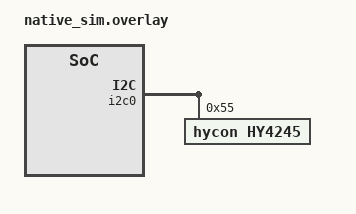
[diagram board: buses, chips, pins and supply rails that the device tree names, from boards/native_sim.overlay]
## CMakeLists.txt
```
# Copyright (c) 2026, Testo SE & Co. KGaA
# SPDX-License-Identifier: Apache-2.0

cmake_minimum_required(VERSION 3.28.0)
find_package(Zephyr REQUIRED HINTS $ENV{ZEPHYR_BASE})
project(hy4245)

target_sources(app PRIVATE src/test_hy4245.c)
```

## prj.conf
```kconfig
CONFIG_ZTEST=y
CONFIG_ZTEST_STACK_SIZE=2048
CONFIG_I2C=y
CONFIG_TEST_USERSPACE=y
CONFIG_LOG=y

CONFIG_FUEL_GAUGE=y
CONFIG_HY4245_RESET_SETTLE_TIME_MS=0
```

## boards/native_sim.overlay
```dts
/*
 * Copyright (c) 2026, Testo SE & Co. KGaA
 *
 * SPDX-License-Identifier: Apache-2.0
 */

&i2c0 {
	hy4245: hy4245@55 {
		compatible = "hycon,hy4245";
		reg = <0x55>;
		status = "okay";
	};
};
```

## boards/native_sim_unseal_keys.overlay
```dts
/*
 * Copyright (c) 2026, Testo SE & Co. KGaA
 *
 * SPDX-License-Identifier: Apache-2.0
 */

/* Gauge programmed with vendor specific unseal keys */
&i2c0 {
	hy4245: hy4245@55 {
		compatible = "hycon,hy4245";
		reg = <0x55>;
		status = "okay";
		unseal-keys = <0x12345678 0x9abcdef0>;
	};
};
```

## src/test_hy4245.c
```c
/*
 * Copyright (c) 2026, Testo SE & Co. KGaA
 *
 * SPDX-License-Identifier: Apache-2.0
 */

#include <string.h>

#include <zephyr/device.h>
#include <zephyr/drivers/fuel_gauge.h>
#include <zephyr/drivers/fuel_gauge/hy4245.h>
#include <zephyr/kernel.h>
#include <zephyr/sys/util.h>
#include <zephyr/ztest.h>

/* Data flash locations used by the tests */
#define SUBCLASS_CALIBRATION 0x02 /* device specific, skipped by config image programming */
#define SUBCLASS_SHARED      0x03 /* block 1 has device specific bytes 7 and 8 */
#define SUBCLASS_MFG_INFO    0x20

#define BLOCK_SIZE   HY4245_DATA_FLASH_BLOCK_SIZE
#define ELEMENT_SIZE HY4245_CONFIG_IMAGE_ELEMENT_SIZE

struct hy4245_fixture {
	const struct device *dev;
};

static void *hy4245_setup(void)
{
	static ZTEST_DMEM struct hy4245_fixture fixture;

	fixture.dev = DEVICE_DT_GET_ANY(hycon_hy4245);
	k_object_access_all_grant(fixture.dev);

	zassert_true(device_is_ready(fixture.dev), "Fuel gauge not found");

	return &fixture;
}

static void hy4245_before(void *f)
{
	struct hy4245_fixture *fixture = f;
	union fuel_gauge_prop_val val = {};

	/* Every test starts with a sealed gauge outside calibration mode */
	if (fuel_gauge_get_prop(fixture->dev, HY4245_FUEL_GAUGE_CALIBRATION_MODE, &val) == 0 &&
	    val.custom_bool) {
		val.custom_bool = false;
		(void)fuel_gauge_set_prop(fixture->dev, HY4245_FUEL_GAUGE_CALIBRATION_MODE, val);
	}
}

static uint32_t get_uint(const struct device *dev, fuel_gauge_prop_t prop)
{
	union fuel_gauge_prop_val val = {};

	zassert_ok(fuel_gauge_get_prop(dev, prop, &val), "reading property %u failed", prop);

	return val.custom_uint;
}

static bool get_bool(const struct device *dev, fuel_gauge_prop_t prop)
{
	union fuel_gauge_prop_val val = {};

	zassert_ok(fuel_gauge_get_prop(dev, prop, &val), "reading property %u failed", prop);

	return val.custom_bool;
}

static int set_bool(const struct device *dev, fuel_gauge_prop_t prop, bool value)
{
	return fuel_gauge_set_prop(dev, prop, (union fuel_gauge_prop_val){.custom_bool = value});
}

static void enter_calibration_mode(const struct device *dev)
{
	zassert_ok(set_bool(dev, HY4245_FUEL_GAUGE_CALIBRATION_MODE, true));
	zassert_true(get_bool(dev, HY4245_FUEL_GAUGE_CALIBRATION_MODE));
}

static void leave_calibration_mode(const struct device *dev)
{
	zassert_ok(set_bool(dev, HY4245_FUEL_GAUGE_CALIBRATION_MODE, false));
	zassert_false(get_bool(dev, HY4245_FUEL_GAUGE_CALIBRATION_MODE));
}

static void read_block(const struct device *dev, uint8_t subclass, uint8_t block, uint8_t *out)
{
	struct hy4245_data_flash_block blk = {
		.subclass = subclass,
		.block = block,
		.len = BLOCK_SIZE,
	};

	zassert_ok(fuel_gauge_get_buffer_prop(dev, HY4245_FUEL_GAUGE_DATA_FLASH_BLOCK, &blk,
					      sizeof(blk)),
		   "reading block 0x%02x/%u failed", subclass, block);
	memcpy(out, blk.data, BLOCK_SIZE);
}

static void write_block(const struct device *dev, uint8_t subclass, uint8_t block,
			const uint8_t *in, uint8_t len)
{
	struct hy4245_data_flash_block blk = {
		.subclass = subclass,
		.block = block,
		.len = len,
	};

	memcpy(blk.data, in, len);
	zassert_ok(fuel_gauge_set_buffer_prop(dev, HY4245_FUEL_GAUGE_DATA_FLASH_BLOCK, &blk,
					      sizeof(blk)),
		   "writing block 0x%02x/%u failed", subclass, block);
}

static void fill_element(uint8_t *image, size_t index, uint8_t subclass, uint8_t block,
			 uint8_t value)
{
	uint8_t *element = &image[index * ELEMENT_SIZE];

	element[0] = subclass;
	element[1] = block;
	memset(&element[2], value, BLOCK_SIZE);
}

ZTEST_USER_F(hy4245, test_get_props__standard_values)
{
	const fuel_gauge_prop_t props[] = {
		FUEL_GAUGE_VOLTAGE_UV,
		FUEL_GAUGE_CURRENT_UA,
		FUEL_GAUGE_AVG_CURRENT_UA,
		FUEL_GAUGE_TEMPERATURE_DK,
		FUEL_GAUGE_RELATIVE_STATE_OF_CHARGE_PCT,
		FUEL_GAUGE_REMAINING_CAPACITY_UAH,
		FUEL_GAUGE_FULL_CHARGE_CAPACITY_UAH,
		FUEL_GAUGE_RUNTIME_TO_EMPTY_MINS,
		FUEL_GAUGE_RUNTIME_TO_FULL_MINS,
		FUEL_GAUGE_CHARGE_VOLTAGE_UV,
		FUEL_GAUGE_CHARGE_CURRENT_UA,
		FUEL_GAUGE_DESIGN_CAPACITY,
		FUEL_GAUGE_STATE_OF_HEALTH,
	};
	union fuel_gauge_prop_val vals[ARRAY_SIZE(props)] = {};

	zassert_ok(fuel_gauge_get_props(fixture->dev, props, vals, ARRAY_SIZE(props)));

	/* Fixed readings of the emulator, converted to the API units */
	zassert_equal(vals[0].voltage_uv, 3700000);
	zassert_equal(vals[1].current_ua, -1234000);
	zassert_equal(vals[2].avg_current_ua, -250000);
	zassert_equal(vals[3].temperature_dk, 2981);
	zassert_equal(vals[4].relative_state_of_charge_pct, 55);
	zassert_equal(vals[5].remaining_capacity_uah, 1200000);
	zassert_equal(vals[6].full_charge_capacity_uah, 2400000);
	zassert_equal(vals[7].runtime_to_empty_mins, 300);
	zassert_equal(vals[8].runtime_to_full_mins, 120);
	zassert_equal(vals[9].chg_voltage_uv, 4200000);
	zassert_equal(vals[10].chg_current_ua, 1500000);
	zassert_equal(vals[11].design_cap, 2500);
	zassert_equal(vals[12].state_of_health, 99);
}

ZTEST_USER_F(hy4245, test_unsupported_operations)
{
	union fuel_gauge_prop_val val = {};

	zassert_equal(fuel_gauge_get_prop(fixture->dev, FUEL_GAUGE_CYCLE_COUNT, &val), -ENOTSUP);
	zassert_equal(fuel_gauge_get_prop(fixture->dev, FUEL_GAUGE_CUSTOM_BEGIN + 100, &val),
		      -ENOTSUP);
	zassert_equal(fuel_gauge_set_prop(fixture->dev, FUEL_GAUGE_VOLTAGE_UV, val), -ENOTSUP);
	zassert_equal(fuel_gauge_battery_cutoff(fixture->dev), -ENOSYS);
}

ZTEST_USER_F(hy4245, test_status_and_version_props)
{
	union fuel_gauge_prop_val val = {};
	uint32_t status, flags, cfg_a, checksum;

	zassert_equal(get_uint(fixture->dev, HY4245_FUEL_GAUGE_FIRMWARE_VERSION), 0x2006);
	zassert_equal(get_uint(fixture->dev, HY4245_FUEL_GAUGE_DATA_FLASH_VERSION), 0x0003);
	zassert_equal(get_uint(fixture->dev, HY4245_FUEL_GAUGE_SAFETY_STATUS), 0);
	zassert_equal(get_uint(fixture->dev, HY4245_FUEL_GAUGE_LIFETIME_OVER_TEMPERATURE_MINS), 42);

	flags = get_uint(fixture->dev, HY4245_FUEL_GAUGE_FLAGS);
	zassert_true(flags & HY4245_FLAGS_DSG, "gauge not discharging");
	zassert_false(flags & HY4245_FLAGS_CHG, "gauge charging");

	/* Data sheet defaults of OperationCfgA() */
	cfg_a = get_uint(fixture->dev, HY4245_FUEL_GAUGE_OPERATION_CONFIG_A);
	zassert_true(cfg_a & HY4245_OPERATION_CONFIG_A_TEMPS, "external temperature sensor");
	zassert_true(cfg_a & HY4245_OPERATION_CONFIG_A_SLEEP, "sleep mode");
	zassert_false(cfg_a & HY4245_OPERATION_CONFIG_A_CELL0, "single cell");

	/* Sealed and not in calibration mode after the reset done by the before hook */
	status = get_uint(fixture->dev, HY4245_FUEL_GAUGE_CONTROL_STATUS);
	zassert_true(status & HY4245_CONTROL_STATUS_SS, "gauge not sealed");
	zassert_false(status & HY4245_CONTROL_STATUS_BCA, "calibration mode active");

	/* A sealed gauge does not compute the data flash checksum */
	zassert_equal(
		fuel_gauge_get_prop(fixture->dev, HY4245_FUEL_GAUGE_DATA_FLASH_CHECKSUM, &val),
		-EACCES);

	/* The data flash checksum is stable while nothing is written */
	enter_calibration_mode(fixture->dev);
	checksum = get_uint(fixture->dev, HY4245_FUEL_GAUGE_DATA_FLASH_CHECKSUM);
	zassert_not_equal(checksum, 0);
	zassert_equal(get_uint(fixture->dev, HY4245_FUEL_GAUGE_DATA_FLASH_CHECKSUM), checksum);
	leave_calibration_mode(fixture->dev);
}

ZTEST_USER_F(hy4245, test_flash_update_enable)
{
	if (!get_bool(fixture->dev, HY4245_FUEL_GAUGE_FLASH_UPDATE_ENABLE)) {
		zassert_false(get_uint(fixture->dev, HY4245_FUEL_GAUGE_OPERATION_CONFIG_A) &
			      HY4245_OPERATION_CONFIG_A_UPD_EN);
		zassert_ok(set_bool(fixture->dev, HY4245_FUEL_GAUGE_FLASH_UPDATE_ENABLE, true));
	}
	zassert_true(get_bool(fixture->dev, HY4245_FUEL_GAUGE_FLASH_UPDATE_ENABLE));
	zassert_true(get_uint(fixture->dev, HY4245_FUEL_GAUGE_OPERATION_CONFIG_A) &
		     HY4245_OPERATION_CONFIG_A_UPD_EN);

	/* Enabling twice is fine, disabling is not possible */
	zassert_ok(set_bool(fixture->dev, HY4245_FUEL_GAUGE_FLASH_UPDATE_ENABLE, true));
	zassert_equal(set_bool(fixture->dev, HY4245_FUEL_GAUGE_FLASH_UPDATE_ENABLE, false),
		      -ENOTSUP);
}

ZTEST_USER_F(hy4245, test_calibration_mode_session)
{
	uint32_t status;

	zassert_false(get_bool(fixture->dev, HY4245_FUEL_GAUGE_CALIBRATION_MODE));

	enter_calibration_mode(fixture->dev);
	status = get_uint(fixture->dev, HY4245_FUEL_GAUGE_CONTROL_STATUS);
	zassert_false(status & HY4245_CONTROL_STATUS_SS, "gauge still sealed");
	zassert_true(status & HY4245_CONTROL_STATUS_BCA, "calibration mode not active");

	/* Entering again is idempotent */
	zassert_ok(set_bool(fixture->dev, HY4245_FUEL_GAUGE_CALIBRATION_MODE, true));
	zassert_true(get_bool(fixture->dev, HY4245_FUEL_GAUGE_CALIBRATION_MODE));

	/* Leaving resets the gauge, which seals it again */
	leave_calibration_mode(fixture->dev);
	status = get_uint(fixture->dev, HY4245_FUEL_GAUGE_CONTROL_STATUS);
	zassert_true(status & HY4245_CONTROL_STATUS_SS, "gauge not sealed after reset");
	zassert_false(status & HY4245_CONTROL_STATUS_BCA,
		      "calibration mode still active after reset");
}

ZTEST_USER_F(hy4245, test_reset)
{
	zassert_equal(set_bool(fixture->dev, HY4245_FUEL_GAUGE_RESET, false), -EINVAL);

	enter_calibration_mode(fixture->dev);
	zassert_ok(set_bool(fixture->dev, HY4245_FUEL_GAUGE_RESET, true));
	zassert_false(get_bool(fixture->dev, HY4245_FUEL_GAUGE_CALIBRATION_MODE));
	zassert_true(get_uint(fixture->dev, HY4245_FUEL_GAUGE_CONTROL_STATUS) &
		     HY4245_CONTROL_STATUS_SS);
}

ZTEST_USER_F(hy4245, test_buffer_props_require_calibration_mode)
{
	uint8_t data[BLOCK_SIZE] = {0};
	struct hy4245_data_flash_block blk = {
		.subclass = SUBCLASS_MFG_INFO,
		.block = 0,
		.len = BLOCK_SIZE,
	};
	uint8_t image[ELEMENT_SIZE] = {0};

	zassert_equal(fuel_gauge_get_buffer_prop(fixture->dev,
						 HY4245_FUEL_GAUGE_MANUFACTURER_INFO_A, data,
						 sizeof(data)),
		      -EACCES);
	zassert_equal(fuel_gauge_set_buffer_prop(fixture->dev,
						 HY4245_FUEL_GAUGE_MANUFACTURER_INFO_C, data,
						 sizeof(data)),
		      -EACCES);
	zassert_equal(fuel_gauge_get_buffer_prop(fixture->dev, HY4245_FUEL_GAUGE_DATA_FLASH_BLOCK,
						 &blk, sizeof(blk)),
		      -EACCES);
	zassert_equal(fuel_gauge_set_buffer_prop(fixture->dev, HY4245_FUEL_GAUGE_CONFIG_IMAGE,
						 image, sizeof(image)),
		      -EACCES);
	zassert_equal(fuel_gauge_set_buffer_prop(fixture->dev,
						 HY4245_FUEL_GAUGE_CONFIG_IMAGE_VERIFY, image,
						 sizeof(image)),
		      -EACCES);
}

ZTEST_USER_F(hy4245, test_buffer_props_argument_validation)
{
	uint8_t data[BLOCK_SIZE + 1] = {0};
	struct hy4245_data_flash_block blk = {
		.subclass = SUBCLASS_MFG_INFO,
		.block = 0,
		.len = BLOCK_SIZE + 1,
	};

	/* Argument checks come before the calibration mode check */
	zassert_equal(
		fuel_gauge_set_buffer_prop(fixture->dev, HY4245_FUEL_GAUGE_CONFIG_IMAGE, NULL, 0),
		-EINVAL);
	zassert_equal(fuel_gauge_get_buffer_prop(fixture->dev,
						 HY4245_FUEL_GAUGE_MANUFACTURER_INFO_A, NULL, 0),
		      -EINVAL);

	enter_calibration_mode(fixture->dev);

	zassert_equal(fuel_gauge_set_buffer_prop(fixture->dev, HY4245_FUEL_GAUGE_DATA_FLASH_BLOCK,
						 &blk, sizeof(blk)),
		      -EINVAL, "block length above the block size accepted");
	blk.len = 0;
	zassert_equal(fuel_gauge_get_buffer_prop(fixture->dev, HY4245_FUEL_GAUGE_DATA_FLASH_BLOCK,
						 &blk, sizeof(blk)),
		      -EINVAL, "zero block length accepted");
	blk.len = BLOCK_SIZE;
	zassert_equal(fuel_gauge_get_buffer_prop(fixture->dev, HY4245_FUEL_GAUGE_DATA_FLASH_BLOCK,
						 &blk, sizeof(blk) - 1),
		      -EINVAL, "wrong structure size accepted");
	zassert_equal(fuel_gauge_set_buffer_prop(fixture->dev,
						 HY4245_FUEL_GAUGE_MANUFACTURER_INFO_B, data,
						 sizeof(data)),
		      -EINVAL, "manufacturer info above the block size accepted");
	zassert_equal(fuel_gauge_set_buffer_prop(fixture->dev, HY4245_FUEL_GAUGE_CONFIG_IMAGE, data,
						 ELEMENT_SIZE - 1),
		      -EINVAL, "image length not a multiple of the element size accepted");
	zassert_equal(fuel_gauge_get_buffer_prop(fixture->dev, HY4245_FUEL_GAUGE_CONFIG_IMAGE, data,
						 BLOCK_SIZE),
		      -ENOTSUP, "configuration image is write only");

	leave_calibration_mode(fixture->dev);
}

ZTEST_USER_F(hy4245, test_data_flash_block_read_write)
{
	uint8_t pattern[BLOCK_SIZE];
	uint8_t partial[4] = {0xde, 0xad, 0xbe, 0xef};
	uint8_t readback[BLOCK_SIZE];
	uint32_t checksum_before, checksum_after;
	struct hy4245_data_flash_block blk = {
		.subclass = SUBCLASS_MFG_INFO,
		.block = 2,
		.len = 2,
	};

	for (size_t i = 0; i < sizeof(pattern); i++) {
		pattern[i] = 0xa5 ^ (uint8_t)i;
	}

	enter_calibration_mode(fixture->dev);

	checksum_before = get_uint(fixture->dev, HY4245_FUEL_GAUGE_DATA_FLASH_CHECKSUM);

	write_block(fixture->dev, SUBCLASS_MFG_INFO, 2, pattern, BLOCK_SIZE);
	read_block(fixture->dev, SUBCLASS_MFG_INFO, 2, readback);
	zassert_mem_equal(readback, pattern, BLOCK_SIZE, "full block write not read back");

	/* A partial write keeps the rest of the block */
	write_block(fixture->dev, SUBCLASS_MFG_INFO, 2, partial, sizeof(partial));
	read_block(fixture->dev, SUBCLASS_MFG_INFO, 2, readback);
	zassert_mem_equal(readback, partial, sizeof(partial), "partial write not applied");
	zassert_mem_equal(&readback[sizeof(partial)], &pattern[sizeof(partial)],
			  BLOCK_SIZE - sizeof(partial), "partial write clobbered the block");

	/* A partial read only touches the requested bytes */
	memset(blk.data, 0xff, sizeof(blk.data));
	zassert_ok(fuel_gauge_get_buffer_prop(fixture->dev, HY4245_FUEL_GAUGE_DATA_FLASH_BLOCK,
					      &blk, sizeof(blk)));
	zassert_mem_equal(blk.data, partial, 2);
	zassert_equal(blk.data[2], 0xff);

	checksum_after = get_uint(fixture->dev, HY4245_FUEL_GAUGE_DATA_FLASH_CHECKSUM);
	zassert_not_equal(checksum_after, checksum_before,
			  "data flash checksum unchanged after a write");

	leave_calibration_mode(fixture->dev);

	/* The written data survives the reset */
	enter_calibration_mode(fixture->dev);
	read_block(fixture->dev, SUBCLASS_MFG_INFO, 2, readback);
	zassert_mem_equal(readback, partial, sizeof(partial), "block lost after reset");
	leave_calibration_mode(fixture->dev);
}

ZTEST_USER_F(hy4245, test_manufacturer_info_blocks)
{
	const uint8_t info_a[16] = "manufacturer  A";
	const uint8_t info_b[BLOCK_SIZE] = "manufacturer info block B, 32 b";
	uint8_t readback[BLOCK_SIZE];
	uint8_t first[4];

	enter_calibration_mode(fixture->dev);

	/* A short buffer is padded with zeros */
	zassert_ok(fuel_gauge_set_buffer_prop(fixture->dev, HY4245_FUEL_GAUGE_MANUFACTURER_INFO_A,
					      info_a, sizeof(info_a)));
	zassert_ok(fuel_gauge_get_buffer_prop(fixture->dev, HY4245_FUEL_GAUGE_MANUFACTURER_INFO_A,
					      readback, sizeof(readback)));
	zassert_mem_equal(readback, info_a, sizeof(info_a));
	for (size_t i = sizeof(info_a); i < BLOCK_SIZE; i++) {
		zassert_equal(readback[i], 0, "block A not zero padded at %zu", i);
	}

	zassert_ok(fuel_gauge_set_buffer_prop(fixture->dev, HY4245_FUEL_GAUGE_MANUFACTURER_INFO_B,
					      info_b, sizeof(info_b)));

	/* A short read returns the first bytes of the block */
	zassert_ok(fuel_gauge_get_buffer_prop(fixture->dev, HY4245_FUEL_GAUGE_MANUFACTURER_INFO_B,
					      first, sizeof(first)));
	zassert_mem_equal(first, info_b, sizeof(first));

	/* Manufacturer info block B is data flash subclass 0x20 block 1 */
	read_block(fixture->dev, SUBCLASS_MFG_INFO, 1, readback);
	zassert_mem_equal(readback, info_b, BLOCK_SIZE);

	leave_calibration_mode(fixture->dev);
}

ZTEST_USER_F(hy4245, test_config_image_program_and_verify)
{
	uint8_t image[6 * ELEMENT_SIZE];
	uint8_t calib0[BLOCK_SIZE], calib1[BLOCK_SIZE], mfg_a[BLOCK_SIZE], shared1[BLOCK_SIZE];
	uint8_t readback[BLOCK_SIZE];
	uint8_t expected[BLOCK_SIZE];

	fill_element(image, 0, SUBCLASS_CALIBRATION, 0, 0x11);
	fill_element(image, 1, SUBCLASS_CALIBRATION, 1, 0x22);
	fill_element(image, 2, SUBCLASS_SHARED, 0, 0x33);
	fill_element(image, 3, SUBCLASS_SHARED, 1, 0x44);
	fill_element(image, 4, SUBCLASS_MFG_INFO, 0, 0x55);
	fill_element(image, 5, SUBCLASS_MFG_INFO, 1, 0x66);

	enter_calibration_mode(fixture->dev);

	read_block(fixture->dev, SUBCLASS_CALIBRATION, 0, calib0);
	read_block(fixture->dev, SUBCLASS_CALIBRATION, 1, calib1);
	read_block(fixture->dev, SUBCLASS_MFG_INFO, 0, mfg_a);
	read_block(fixture->dev, SUBCLASS_SHARED, 1, shared1);

	zassert_ok(fuel_gauge_set_buffer_prop(fixture->dev, HY4245_FUEL_GAUGE_CONFIG_IMAGE, image,
					      sizeof(image)),
		   "programming the image failed");

	/* Device specific blocks are not programmed */
	read_block(fixture->dev, SUBCLASS_CALIBRATION, 0, readback);
	zassert_mem_equal(readback, calib0, BLOCK_SIZE, "calibration block 0 overwritten");
	read_block(fixture->dev, SUBCLASS_CALIBRATION, 1, readback);
	zassert_mem_equal(readback, calib1, BLOCK_SIZE, "calibration block 1 overwritten");
	read_block(fixture->dev, SUBCLASS_MFG_INFO, 0, readback);
	zassert_mem_equal(readback, mfg_a, BLOCK_SIZE, "manufacturer info A overwritten");

	/* Regular blocks are programmed */
	read_block(fixture->dev, SUBCLASS_SHARED, 0, readback);
	memset(expected, 0x33, BLOCK_SIZE);
	zassert_mem_equal(readback, expected, BLOCK_SIZE, "shared block 0 not programmed");
	read_block(fixture->dev, SUBCLASS_MFG_INFO, 1, readback);
	memset(expected, 0x66, BLOCK_SIZE);
	zassert_mem_equal(readback, expected, BLOCK_SIZE, "manufacturer info B not programmed");

	/* Bytes 7 and 8 of the shared block are preserved */
	read_block(fixture->dev, SUBCLASS_SHARED, 1, readback);
	memset(expected, 0x44, BLOCK_SIZE);
	expected[7] = shared1[7];
	expected[8] = shared1[8];
	zassert_mem_equal(readback, expected, BLOCK_SIZE, "device specific bytes not preserved");

	/* The programmed image verifies, a modified one does not */
	zassert_ok(fuel_gauge_set_buffer_prop(fixture->dev, HY4245_FUEL_GAUGE_CONFIG_IMAGE_VERIFY,
					      image, sizeof(image)));
	image[5 * ELEMENT_SIZE + 2 + 3] ^= 0xff;
	zassert_equal(fuel_gauge_set_buffer_prop(fixture->dev,
						 HY4245_FUEL_GAUGE_CONFIG_IMAGE_VERIFY, image,
						 sizeof(image)),
		      -EILSEQ);

	/* Differences in skipped or preserved bytes are ignored by the verification */
	image[5 * ELEMENT_SIZE + 2 + 3] ^= 0xff;
	image[0 * ELEMENT_SIZE + 2 + 1] ^= 0xff;
	image[3 * ELEMENT_SIZE + 2 + 7] ^= 0xff;
	zassert_ok(fuel_gauge_set_buffer_prop(fixture->dev, HY4245_FUEL_GAUGE_CONFIG_IMAGE_VERIFY,
					      image, sizeof(image)));

	leave_calibration_mode(fixture->dev);
}

ZTEST_USER_F(hy4245, test_relearn_commands)
{
	uint32_t flags_before, flags_after;

	/* One-shot commands need an explicit true */
	zassert_equal(set_bool(fixture->dev, HY4245_FUEL_GAUGE_CLEAR_LEARNED, false), -EINVAL);
	zassert_equal(set_bool(fixture->dev, HY4245_FUEL_GAUGE_QUICK_START, false), -EINVAL);

	/* ClearLearned clears the learned flag and nothing else */
	flags_before = get_uint(fixture->dev, HY4245_FUEL_GAUGE_FLAGS);
	zassert_ok(set_bool(fixture->dev, HY4245_FUEL_GAUGE_CLEAR_LEARNED, true));
	flags_after = get_uint(fixture->dev, HY4245_FUEL_GAUGE_FLAGS);
	zassert_false(flags_after & HY4245_FLAGS_LRND, "ClearLearned did not clear LRND");
	zassert_equal(flags_after & ~HY4245_FLAGS_LRND, flags_before & ~HY4245_FLAGS_LRND,
		      "ClearLearned changed other flags");

	zassert_ok(set_bool(fixture->dev, HY4245_FUEL_GAUGE_QUICK_START, true));
}

ZTEST_SUITE(hy4245, NULL, hy4245_setup, hy4245_before, NULL, NULL);
```
